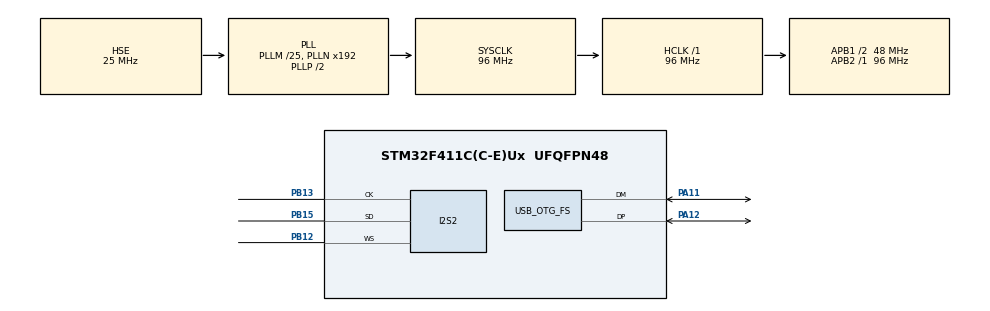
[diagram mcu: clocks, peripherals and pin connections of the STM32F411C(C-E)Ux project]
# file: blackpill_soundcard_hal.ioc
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Dma.Request0=SPI2_TX
Dma.SPI2_TX.0.Direction=DMA_MEMORY_TO_PERIPH
Dma.SPI2_TX.0.FIFOMode=DMA_FIFOMODE_DISABLE
Dma.SPI2_TX.0.Instance=DMA1_Stream4
Dma.SPI2_TX.0.MemDataAlignment=DMA_MDATAALIGN_HALFWORD
Dma.SPI2_TX.0.MemInc=DMA_MINC_ENABLE
Dma.SPI2_TX.0.Mode=DMA_CIRCULAR
Dma.SPI2_TX.0.PeriphDataAlignment=DMA_PDATAALIGN_HALFWORD
Dma.SPI2_TX.0.PeriphInc=DMA_PINC_DISABLE
Dma.SPI2_TX.0.Priority=DMA_PRIORITY_HIGH
I2S2.AudioFreq=I2S_AUDIOFREQ_44K
I2S2.ErrorAudioFreq=0.22 %
I2S2.FullDuplexMode=I2S_FULLDUPLEXMODE_DISABLE
I2S2.Instance=SPI$Index
I2S2.RealAudioFreq=44.1 KHz
I2S2.VirtualMode=I2S_MODE_MASTER
Mcu.Family=STM32F4
Mcu.Name=STM32F411C(C-E)Ux
Mcu.Package=UFQFPN48
NVIC.DMA1_Stream4_IRQn=true\:0\:0\:false\:false\:true\:false\:true\:true
NVIC.OTG_FS_IRQn=true\:0\:0\:false\:false\:true\:false\:true\:true
NVIC.PriorityGroup=NVIC_PRIORITYGROUP_4
PA11.Mode=Device_Only
PA11.Signal=USB_OTG_FS_DM
PA12.Mode=Device_Only
PA12.Signal=USB_OTG_FS_DP
PB12.GPIO_Speed=GPIO_SPEED_FREQ_VERY_HIGH
PB12.Mode=Half_Duplex_Master
PB12.Signal=I2S2_WS
PB13.GPIO_Speed=GPIO_SPEED_FREQ_VERY_HIGH
PB13.Mode=Half_Duplex_Master
PB13.Signal=I2S2_CK
PB15.GPIO_Speed=GPIO_SPEED_FREQ_VERY_HIGH
PB15.Mode=Half_Duplex_Master
PB15.Signal=I2S2_SD
PH0\ -\ OSC_IN.Mode=HSE-External-Oscillator
PH0\ -\ OSC_IN.Signal=RCC_OSC_IN
PH1\ -\ OSC_OUT.Mode=HSE-External-Oscillator
PH1\ -\ OSC_OUT.Signal=RCC_OSC_OUT
ProjectManager.HeapSize=0x200
ProjectManager.StackSize=0x400
ProjectManager.TargetToolchain=STM32CubeIDE
RCC.48MHZClocksFreq_Value=48000000
RCC.AHBFreq_Value=96000000
RCC.APB1CLKDivider=RCC_HCLK_DIV2
RCC.APB1Freq_Value=48000000
RCC.APB1TimFreq_Value=96000000
RCC.APB2Freq_Value=96000000
RCC.APB2TimFreq_Value=96000000
RCC.CortexFreq_Value=96000000
RCC.HCLKFreq_Value=96000000
RCC.HSE_VALUE=25000000
RCC.HSI_VALUE=16000000
RCC.LSE_VALUE=32768
RCC.PLLI2SM=25
RCC.PLLI2SN=302
RCC.PLLM=25
RCC.SYSCLKFreq_VALUE=96000000
RCC.SYSCLKSource=RCC_SYSCLKSOURCE_PLLCLK
RCC.VCOOutputFreq_Value=192000000
USB_DEVICE.CLASS_NAME_FS=AUDIO
USB_DEVICE.USBD_AUDIO_FREQ=44100
USB_DEVICE.VirtualMode=Audio
USB_DEVICE.VirtualModeFS=Audio_FS
USB_OTG_FS.VirtualMode=Device_Only
VP_USB_DEVICE_VS_USB_DEVICE_AUDIO_FS.Mode=AUDIO_FS
board=custom

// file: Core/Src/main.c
/* USER CODE BEGIN Header */
/**
  ******************************************************************************
  * @file           : main.c
  * @brief          : Main program body
  ******************************************************************************
  * @attention
  *
  * Copyright (c) 2025 STMicroelectronics.
  * All rights reserved.
  *
  * This software is licensed under terms that can be found in the LICENSE file
  * in the root directory of this software component.
  * If no LICENSE file comes with this software, it is provided AS-IS.
  *
  ******************************************************************************
  */
/* USER CODE END Header */
#include "main.h"
#include "usb_device.h"

I2S_HandleTypeDef hi2s2;
DMA_HandleTypeDef hdma_spi2_tx;

void SystemClock_Config(void);
static void MX_GPIO_Init(void);
static void MX_DMA_Init(void);
static void MX_I2S2_Init(void);

/* USER CODE BEGIN 0 */
#define fabs_(x)	(x < 0 ? -x : x)

//таблица синусов от 0 до 90 градусов (значения умножены на 32768)
const uint16_t sin_tbl_int[91] = {	    0,   572,  1144,  1715,  2286,  2856,  3425,  3993,  4560,  5126,
									 5690,  6252,  6813,  7371,  7927,  8481,  9032,  9580, 10126, 10668,
									11207, 11743, 12275, 12803, 13328, 13848, 14365, 14876, 15384, 15886,
									16384, 16877, 17364, 17847, 18324, 18795, 19261, 19720, 20174, 20622,
									21063, 21498, 21926, 22348, 22763, 23170, 23571, 23965, 24351, 24730,
									25102, 25466, 25822, 26170, 26510, 26842, 27166, 27482, 27789, 28088,
									28378, 28660, 28932, 29197, 29452, 29698, 29935, 30163, 30382, 30592,
									30792, 30983, 31164, 31336, 31499, 31651, 31795, 31928, 32052, 32166,
									32270, 32365, 32449, 32524, 32588, 32643, 32688, 32723, 32748, 32763,
									32768 };

//возвращает синус угла умноженный на 32768.
//angle - угол в градусах
static int sin_int(int angle)
{
	if (fabs_(angle) > 360) angle %= 360;
	if (angle < 0) angle += 360;
	if (angle >=   0 && angle <=  90) return (int)sin_tbl_int[angle];
	if (angle >=  91 && angle <= 180) return (int)sin_tbl_int[180 - angle];
	if (angle >= 181 && angle <= 270) return -(int)sin_tbl_int[angle - 181];
	return -(int)sin_tbl_int[360 - angle]; //271...360
}

//возвращает косинус угла умноженный на 32768.
//angle - угол в градусах
static int cos_int(int angle)
{
	return sin_int(angle + 90);
}
/* USER CODE END 0 */

int main(void)
{

  /* MCU Configuration--------------------------------------------------------*/

  /* Reset of all peripherals, Initializes the Flash interface and the Systick. */
  HAL_Init();

  /* Configure the system clock */
  SystemClock_Config();

  /* Initialize all configured peripherals */
  MX_GPIO_Init();
  MX_DMA_Init();
  MX_I2S2_Init();
  MX_USB_DEVICE_Init();
  /* USER CODE BEGIN 2 */

	int16_t buff[2*360];

	for(int i = 0; i < 2*360; i+=2)
	{
		buff[i] =   (32767*sin_int(i>>1))>>15;
		buff[i+1] = (32767*cos_int(i>>1))>>15;
	}

  HAL_I2S_Transmit_DMA(&hi2s2, (uint16_t*)buff, 2*360);

  /* USER CODE END 2 */

  /* Infinite loop */
  while (1)
  {

  }
}

void SystemClock_Config(void)
{
  RCC_OscInitTypeDef RCC_OscInitStruct = {0};
  RCC_ClkInitTypeDef RCC_ClkInitStruct = {0};

  /** Configure the main internal regulator output voltage
  */
  __HAL_RCC_PWR_CLK_ENABLE();
  __HAL_PWR_VOLTAGESCALING_CONFIG(PWR_REGULATOR_VOLTAGE_SCALE1);

  /** Initializes the RCC Oscillators according to the specified parameters
  * in the RCC_OscInitTypeDef structure.
  */
  RCC_OscInitStruct.OscillatorType = RCC_OSCILLATORTYPE_HSE;
  RCC_OscInitStruct.HSEState = RCC_HSE_ON;
  RCC_OscInitStruct.PLL.PLLState = RCC_PLL_ON;
  RCC_OscInitStruct.PLL.PLLSource = RCC_PLLSOURCE_HSE;
  RCC_OscInitStruct.PLL.PLLM = 25;
  RCC_OscInitStruct.PLL.PLLN = 192;
  RCC_OscInitStruct.PLL.PLLP = RCC_PLLP_DIV2;
  RCC_OscInitStruct.PLL.PLLQ = 4;
  if (HAL_RCC_OscConfig(&RCC_OscInitStruct) != HAL_OK)
  {
    Error_Handler();
  }

  /** Initializes the CPU, AHB and APB buses clocks
  */
  RCC_ClkInitStruct.ClockType = RCC_CLOCKTYPE_HCLK|RCC_CLOCKTYPE_SYSCLK
                              |RCC_CLOCKTYPE_PCLK1|RCC_CLOCKTYPE_PCLK2;
  RCC_ClkInitStruct.SYSCLKSource = RCC_SYSCLKSOURCE_PLLCLK;
  RCC_ClkInitStruct.AHBCLKDivider = RCC_SYSCLK_DIV1;
  RCC_ClkInitStruct.APB1CLKDivider = RCC_HCLK_DIV2;
  RCC_ClkInitStruct.APB2CLKDivider = RCC_HCLK_DIV1;

  if (HAL_RCC_ClockConfig(&RCC_ClkInitStruct, FLASH_LATENCY_3) != HAL_OK)
  {
    Error_Handler();
  }
}

static void MX_I2S2_Init(void)
{

  hi2s2.Instance = SPI2;
  hi2s2.Init.Mode = I2S_MODE_MASTER_TX;
  hi2s2.Init.Standard = I2S_STANDARD_PHILIPS;
  hi2s2.Init.DataFormat = I2S_DATAFORMAT_16B;
  hi2s2.Init.MCLKOutput = I2S_MCLKOUTPUT_DISABLE;
  hi2s2.Init.AudioFreq = I2S_AUDIOFREQ_44K;
  hi2s2.Init.CPOL = I2S_CPOL_LOW;
  hi2s2.Init.ClockSource = I2S_CLOCK_PLL;
  hi2s2.Init.FullDuplexMode = I2S_FULLDUPLEXMODE_DISABLE;
  if (HAL_I2S_Init(&hi2s2) != HAL_OK)
  {
    Error_Handler();
  }

}

static void MX_DMA_Init(void)
{

  /* DMA controller clock enable */
  __HAL_RCC_DMA1_CLK_ENABLE();

  /* DMA interrupt init */
  /* DMA1_Stream4_IRQn interrupt configuration */
  HAL_NVIC_SetPriority(DMA1_Stream4_IRQn, 0, 0);
  HAL_NVIC_EnableIRQ(DMA1_Stream4_IRQn);

}

static void MX_GPIO_Init(void)
{

  /* GPIO Ports Clock Enable */
  __HAL_RCC_GPIOH_CLK_ENABLE();
  __HAL_RCC_GPIOB_CLK_ENABLE();
  __HAL_RCC_GPIOA_CLK_ENABLE();

}

void Error_Handler(void)
{
  __disable_irq();
  while (1)
  {
  }
}
